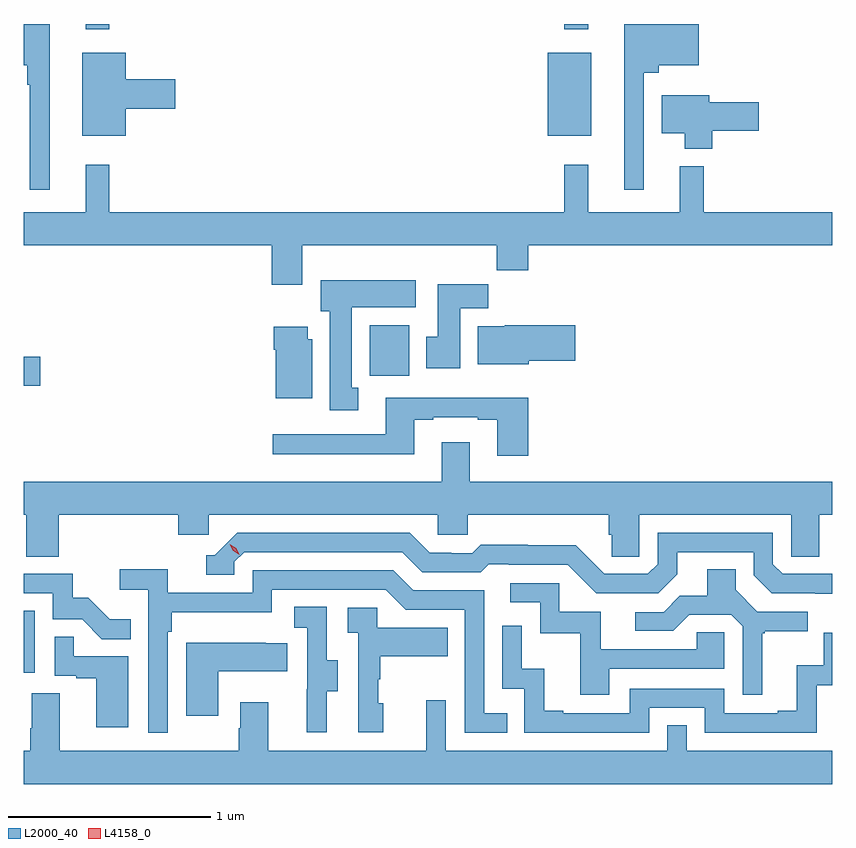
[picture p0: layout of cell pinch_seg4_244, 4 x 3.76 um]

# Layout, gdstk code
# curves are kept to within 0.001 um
import gdstk
lib = gdstk.Library(unit=1e-6, precision=1e-09)
def R(c, l, rs):  # rectangles x0, y0, x1, y1
    for r in rs: c.add(gdstk.rectangle(r[:2], r[2:], *l))
def P(c, l, *ps):  # polygons
    for p in ps: c.add(gdstk.Polygon(p, *l))
L2000_40 = (2000, 40)
L4158_0 = (4158, 0)

pinch_seg4_244 = lib.new_cell('pinch_seg4_244')
R(pinch_seg4_244, L2000_40, [(913.124,814.686,913.18,814.993), (913.124,816.106,913.207,816.248), (914.835,816.156,915.031,816.406), (915.716,817.343,915.931,817.753), (913.43,817.869,913.547,817.895), (915.799,817.869,915.916,817.895)])
P(pinch_seg4_244, L2000_40, [(916.191,817.655),(916.265,817.655),(916.265,817.691),(916.464,817.691),(916.464,817.895),(916.094,817.895),(916.094,817.074),(916.191,817.074)],
  [(913.252,817.895),(913.124,817.895),(913.124,817.691),(913.143,817.691),(913.143,817.595),(913.155,817.595),(913.155,817.074),(913.252,817.074)],
  [(913.63,817.475),(913.873,817.475),(913.873,817.622),(913.63,817.622),(913.63,817.753),(913.415,817.753),(913.415,817.343),(913.63,817.343)],
  [(916.529,817.366),(916.759,817.366),(916.759,817.508),(916.516,817.508),(916.516,817.543),(916.28,817.543),(916.28,817.355),(916.394,817.355),(916.394,817.277),(916.529,817.277)],
  [(914.503,816.8),(915.463,816.8),(915.463,816.676),(915.62,816.676),(915.62,816.8),(917.124,816.8),(917.124,816.964),(916.487,816.964),(916.487,817.192),(916.37,817.192),(916.37,816.964),(915.917,816.964),(915.917,817.198),(915.799,817.198),(915.799,816.964),(913.547,816.964),(913.547,817.198),(913.43,817.198),(913.43,816.964),(913.124,816.964),(913.124,816.8),(914.351,816.8),(914.351,816.606),(914.503,816.606)],
  [(914.779,816.097),(914.746,816.097),(914.746,816.494),(915.064,816.494),(915.064,816.628),(914.594,816.628),(914.594,816.474),(914.639,816.474),(914.639,815.985),(914.779,815.985)],
  [(915.283,816.488),(915.422,816.488),(915.422,816.607),(915.173,816.607),(915.173,816.348),(915.116,816.348),(915.116,816.192),(915.283,816.192)],
  [(915.622,816.23),(915.853,816.23),(915.853,816.406),(915.504,816.406),(915.504,816.4),(915.371,816.4),(915.371,816.212),(915.622,816.212)],
  [(914.551,816.336),(914.53,816.336),(914.53,816.397),(914.36,816.397),(914.36,816.284),(914.372,816.284),(914.372,816.044),(914.551,816.044)],
  [(915.62,816.046),(914.915,816.046),(914.915,815.865),(914.355,815.865),(914.355,815.768),(915.055,815.768),(915.055,815.937),(915.151,815.937),(915.151,815.949),(915.371,815.949),(915.371,815.937),(915.467,815.937),(915.467,815.76),(915.62,815.76)],
  [(913.298,815.468),(913.889,815.468),(913.889,815.37),(914.04,815.37),(914.04,815.468),(915.171,815.468),(915.171,815.37),(915.321,815.37),(915.321,815.468),(916.019,815.468),(916.019,815.37),(916.033,815.37),(916.033,815.26),(916.17,815.26),(916.17,815.468),(916.92,815.468),(916.92,815.26),(917.059,815.26),(917.059,815.468),(917.124,815.468),(917.124,815.632),(915.331,815.632),(915.331,815.827),(915.191,815.827),(915.191,815.632),(913.124,815.632),(913.124,815.468),(913.138,815.468),(913.138,815.26),(913.298,815.26)],
  [(917.124,815.175),(916.878,815.175),(916.83,815.223),(916.83,815.379),(916.26,815.379),(916.26,815.223),(916.212,815.175),(915.996,815.175),(915.854,815.317),(915.618,815.317),(915.618,815.32),(915.385,815.32),(915.343,815.277),(915.24,815.277),(915.24,815.28),(915.133,815.28),(915.034,815.379),(914.181,815.379),(914.07,815.268),(914.027,815.268),(914.027,815.172),(914.166,815.172),(914.166,815.235),(914.214,815.283),(914.997,815.283),(915.096,815.184),(915.385,815.184),(915.424,815.223),(915.523,815.223),(915.523,815.22),(915.816,815.22),(915.957,815.079),(916.263,815.079),(916.357,815.173),(916.357,815.283),(916.734,815.283),(916.734,815.169),(916.824,815.079),(917.124,815.078)],
  [(913.836,814.889),(913.856,814.889),(913.856,814.985),(914.352,814.985),(914.352,815.097),(914.916,815.097),(915.015,814.998),(915.306,814.998),(915.306,814.389),(915.515,814.389),(915.515,814.485),(915.402,814.485),(915.402,815.094),(915.052,815.094),(914.953,815.193),(914.256,815.193),(914.256,815.082),(913.838,815.082),(913.838,815.198),(913.599,815.198),(913.599,815.096),(913.74,815.096),(913.74,814.389),(913.836,814.389)],
  [(916.777,814.881),(916.789,814.881),(916.789,814.892),(917.002,814.892),(917.002,814.989),(916.752,814.989),(916.645,815.096),(916.645,815.198),(916.505,815.198),(916.505,815.066),(916.37,815.066),(916.29,814.986),(916.149,814.986),(916.149,814.893),(916.336,814.893),(916.417,814.974),(916.623,814.974),(916.68,814.917),(916.68,814.578),(916.777,814.578)],
  [(913.655,814.951),(913.551,814.951),(913.444,815.058),(913.368,815.058),(913.368,815.175),(913.124,815.175),(913.124,815.079),(913.269,815.079),(913.269,814.95),(913.413,814.95),(913.511,814.852),(913.655,814.852)],
  [(916.021,814.707),(916.59,814.707),(916.59,814.887),(916.453,814.887),(916.453,814.803),(915.979,814.803),(915.979,814.989),(915.774,814.989),(915.774,815.13),(915.531,815.13),(915.531,815.034),(915.678,815.034),(915.678,814.881),(915.877,814.881),(915.877,814.578),(916.021,814.578)],
  [(914.623,814.594),(914.677,814.594),(914.677,814.749),(914.622,814.749),(914.622,815.012),(914.463,815.012),(914.463,814.909),(914.526,814.909),(914.526,814.605),(914.525,814.605),(914.525,814.392),(914.623,814.392)],
  [(914.902,814.536),(914.877,814.536),(914.877,814.655),(914.887,814.655),(914.887,814.769),(915.221,814.769),(915.221,814.909),(914.874,814.909),(914.874,815.007),(914.727,815.007),(914.727,814.883),(914.778,814.883),(914.778,814.392),(914.902,814.392)],
  [(916.218,814.512),(916.494,814.512),(916.494,814.389),(917.046,814.389),(917.046,814.625),(917.124,814.625),(917.124,814.884),(917.082,814.884),(917.082,814.723),(916.949,814.723),(916.949,814.498),(916.853,814.498),(916.853,814.485),(916.59,814.485),(916.59,814.608),(916.122,814.608),(916.122,814.485),(915.793,814.485),(915.793,814.498),(915.698,814.498),(915.698,814.706),(915.588,814.706),(915.588,814.918),(915.492,814.918),(915.492,814.608),(915.6,814.608),(915.6,814.389),(916.218,814.389)],
  [(913.642,814.767),(913.373,814.767),(913.373,814.865),(913.278,814.865),(913.278,814.671),(913.385,814.671),(913.385,814.659),(913.484,814.659),(913.484,814.416),(913.642,814.416)],
  [(914.086,814.694),(914.429,814.694),(914.429,814.831),(914.321,814.831),(914.321,814.834),(913.928,814.834),(913.928,814.473),(914.086,814.473)],
  [(917.124,814.3),(916.404,814.3),(916.404,814.427),(916.308,814.427),(916.308,814.3),(915.213,814.3),(915.213,814.549),(915.116,814.549),(915.116,814.3),(914.335,814.3),(914.335,814.54),(914.195,814.54),(914.195,814.412),(914.188,814.412),(914.188,814.3),(913.303,814.3),(913.303,814.586),(913.163,814.586),(913.163,814.412),(913.156,814.412),(913.156,814.3),(913.124,814.3),(913.124,814.136),(917.124,814.136)])
P(pinch_seg4_244, L4158_0, [(914.19,815.269),(914.16,815.289),(914.144,815.322),(914.144,815.322),(914.144,815.322),(914.175,815.302),(914.19,815.269),(914.19,815.269)])

lib.write_gds('pinch_seg4_244.gds')
